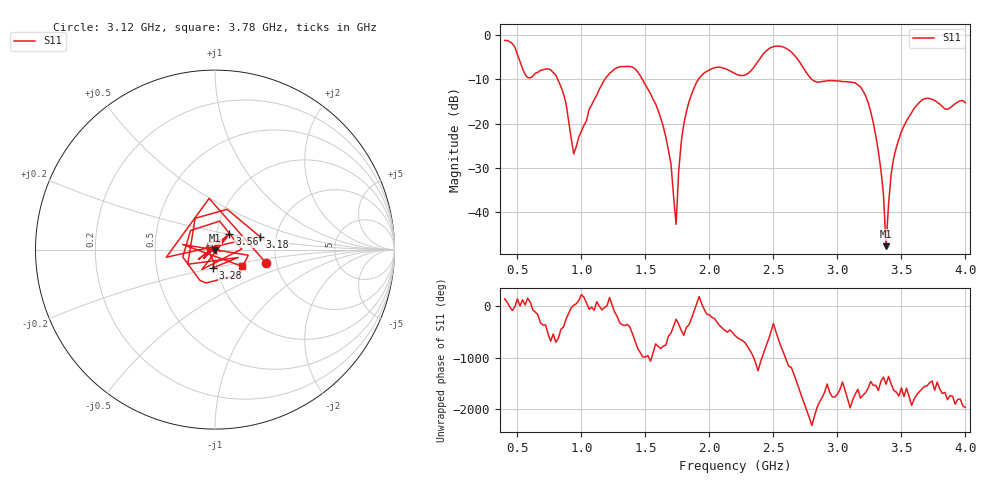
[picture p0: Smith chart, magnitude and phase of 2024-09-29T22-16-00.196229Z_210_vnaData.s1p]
!Created with skrf (http://scikit-rf.org).
# Hz S RI R 50.0
!freq ReS11 ImS11
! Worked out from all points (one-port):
!   181 points, 400 MHz to 4 GHz, reference 50 ohm
!   lowest |S11| = -47.8 dB at 3.38 GHz (marker M1), VSWR 1.01, Z = 50.1 - j0.393 ohm
!   |S11| at or under -10 dB: 814.7 MHz to 1.182 GHz (367.1 MHz wide, 36.8 % of centre); 1.476 GHz to 1.915 GHz (438.8 MHz wide, 25.9 % of centre); 2.8 GHz to end of sweep
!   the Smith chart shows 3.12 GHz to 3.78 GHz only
!   S11 on the Smith chart (normalised r, x): 3.12 GHz: 1.76, -0.28; 3.18 GHz: 1.64, +0.26; 3.28 GHz: 0.96, -0.20; 3.56 GHz: 1.16, +0.21; 3.78 GHz: 1.32, -0.25
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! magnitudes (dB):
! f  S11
! 400 MHz  -1.2
! 580 MHz  -9.6
! 760 MHz  -7.9
! 860 MHz  -13.3
! 940 MHz  -26.9
! 1.14 GHz  -12.3
! 1.3 GHz  -7.1
! 1.42 GHz  -7.6
! 1.6 GHz  -17.1
! 1.7 GHz  -29.2
! 1.74 GHz  -42.8
! 1.76 GHz  -30.8
! 1.8 GHz  -20.1
! 1.9 GHz  -10.6
! 2.2 GHz  -8.7
! 2.5 GHz  -2.6
! 2.66 GHz  -4.4
! 2.82 GHz  -10.4
! 3.1 GHz  -10.6
! 3.12 GHz  -10.7
! 3.18 GHz  -11.7
! 3.28 GHz  -19.8
! 3.36 GHz  -36.0
! 3.38 GHz  -47.8
! 3.44 GHz  -27.8
! 3.56 GHz  -18.5
! 3.78 GHz  -15.2
! 4 GHz  -15.3
